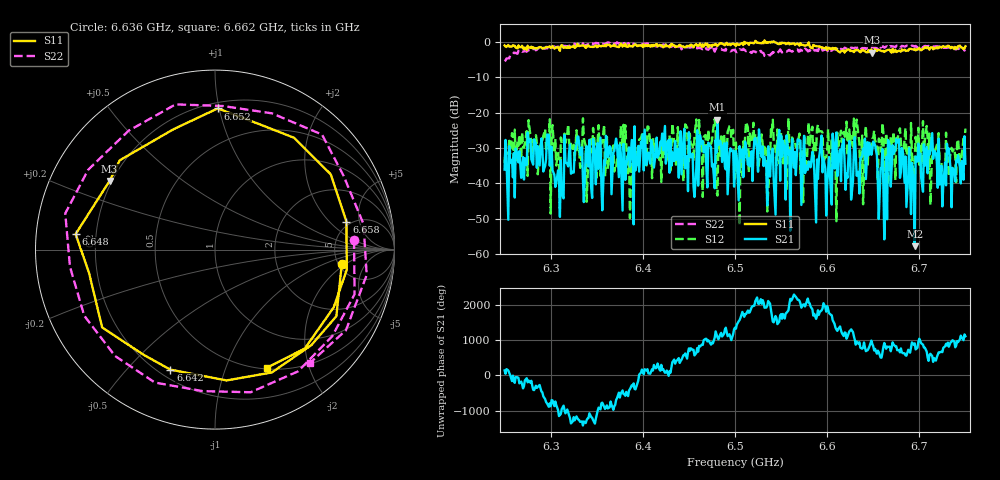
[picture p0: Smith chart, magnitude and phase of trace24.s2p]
# Hz S RI R 50
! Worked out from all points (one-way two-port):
!   401 points, 6.25 GHz to 6.75 GHz, reference 50 ohm
!   highest |S21| = -22.02 dB at 6.481 GHz (marker M1); lowest = -57.7 dB at 6.695 GHz (marker M2)
!   lowest |S11| = -3.1 dB at 6.649 GHz (marker M3), VSWR 5.69, Z = 9.54 + j14.3 ohm
!   |S11| at or under -10 dB: nowhere
!   |S22| runs from -5.5 to -0.2 dB; largest |S21 - S12| = 0.11
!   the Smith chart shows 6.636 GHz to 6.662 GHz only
!   S11 on the Smith chart (normalised r, x): 6.636 GHz: 5.33, -1.73; 6.642 GHz: 0.24, -0.67; 6.648 GHz: 0.12, +0.05; 6.652 GHz: 0.24, +0.99; 6.658 GHz: 4.59, +3.25; 6.662 GHz: 0.52, -1.40
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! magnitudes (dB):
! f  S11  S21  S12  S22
! 6.25 GHz  -1.0  -36.1  -34.2  -5.5
! 6.334 GHz  -1.1  -29.8  -31.6  -1.0
! 6.418 GHz  -0.9  -31.4  -33.4  -0.9
! 6.458 GHz  -0.7  -35.8  -21.9  -1.8
! 6.481 GHz  -1.2  -22.0  -43.4  -2.0
! 6.5 GHz  -0.7  -31.9  -38.6  -2.3
! 6.584 GHz  -1.9  -31.1  -24.0  -2.3
! 6.608 GHz  -2.0  -35.8  -29.1  -2.1
! 6.631 GHz  -2.2  -31.4  -24.9  -1.7
! 6.636 GHz  -3.0  -32.9  -40.9  -2.2
! 6.642 GHz  -2.9  -38.8  -23.8  -2.0
! 6.648 GHz  -2.1  -31.9  -31.7  -1.8
! 6.649 GHz  -3.1  -30.3  -27.3  -1.3
! 6.652 GHz  -2.1  -29.1  -28.1  -1.5
! 6.658 GHz  -2.5  -35.8  -28.2  -1.7
! 6.662 GHz  -2.9  -55.8  -42.2  -1.7
! 6.668 GHz  -2.3  -29.3  -30.9  -1.2
! 6.675 GHz  -2.9  -27.4  -27.2  -1.2
! 6.695 GHz  -2.0  -57.7  -33.4  -1.4
! 6.715 GHz  -2.1  -33.0  -30.5  -1.4
! 6.725 GHz  -1.3  -46.5  -42.8  -1.3
! 6.75 GHz  -1.3  -34.4  -24.5  -2.2
